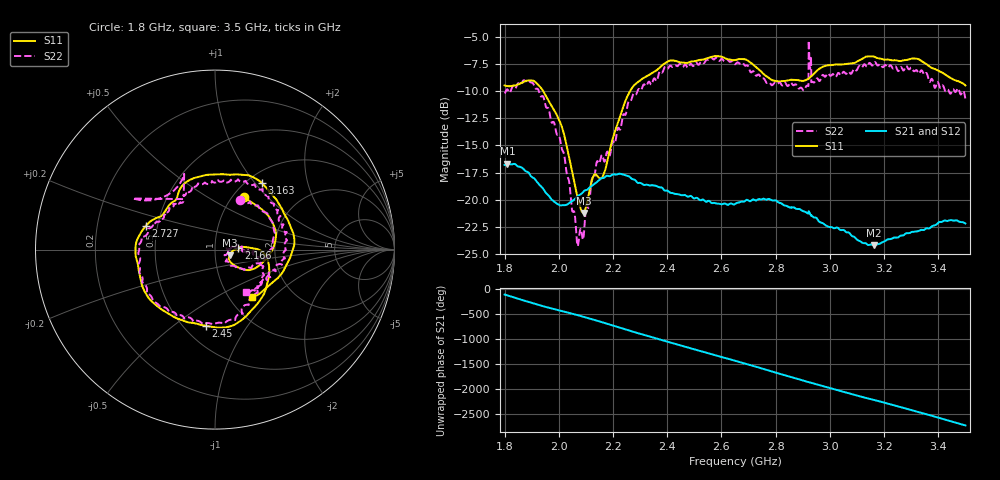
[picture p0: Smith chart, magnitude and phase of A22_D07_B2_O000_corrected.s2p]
! Created with skrf 1.9.0 (http://scikit-rf.org).
# Hz S RI R 50.0
!freq ReS11 ImS11 ReS21 ImS21 ReS12 ImS12 ReS22 ImS22
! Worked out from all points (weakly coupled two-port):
!   1601 points, 1.8 GHz to 3.5 GHz, reference 50 ohm
!   highest |S21| = -16.68 dB at 1.811 GHz (marker M1); lowest = -24.2 dB at 3.162 GHz (marker M2)
!   lowest |S11| = -21.2 dB at 2.091 GHz (marker M3), VSWR 1.19, Z = 58.7 - j3.69 ohm
!   |S11| at or under -10 dB: 1.942 GHz to 2.263 GHz (320.8 MHz wide, 15.3 % of centre)
!   |S22| runs from -24.3 to -5.4 dB; largest |S21 - S12| = 0.0027
!   S11 on the Smith chart (normalised r, x): 1.8 GHz: 1.13, +0.75; 2.166 GHz: 1.30, +0.03; 2.45 GHz: 0.64, -0.66; 2.727 GHz: 0.43, +0.13; 3.163 GHz: 1.16, +1.09; 3.5 GHz: 1.27, -0.75
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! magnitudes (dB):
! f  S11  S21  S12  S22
! 1.8 GHz  -9.5  -16.8  -16.8  -10.2
! 1.811 GHz  -9.6  -16.7  -16.7  -9.9
! 1.885 GHz  -9.0  -17.4  -17.5  -9.0
! 1.942 GHz  -10.0  -19.0  -19.0  -10.5
! 2.011 GHz  -13.3  -20.5  -20.5  -15.3
! 2.067 GHz  -19.5  -19.7  -19.7  -23.8
! 2.084 GHz  -21.0  -19.4  -19.4  -22.9
! 2.091 GHz  -21.2  -19.2  -19.3  -23.5
! 2.13 GHz  -17.7  -18.6  -18.6  -18.0
! 2.166 GHz  -17.6  -18.0  -17.9  -16.4
! 2.258 GHz  -10.2  -17.8  -17.8  -10.9
! 2.367 GHz  -8.0  -18.8  -18.8  -8.6
! 2.45 GHz  -7.4  -19.6  -19.6  -7.6
! 2.65 GHz  -7.2  -20.4  -20.4  -7.6
! 2.727 GHz  -7.8  -20.1  -20.1  -8.6
! 2.901 GHz  -9.1  -21.0  -21.0  -9.9
! 2.934 GHz  -8.6  -21.5  -21.5  -9.2
! 3.162 GHz  -6.8  -24.2  -24.1  -7.5
! 3.163 GHz  -6.8  -24.2  -24.1  -7.4
! 3.217 GHz  -7.1  -23.6  -23.6  -7.8
! 3.325 GHz  -7.1  -22.9  -22.9  -8.3
! 3.5 GHz  -9.5  -22.2  -22.1  -10.7
